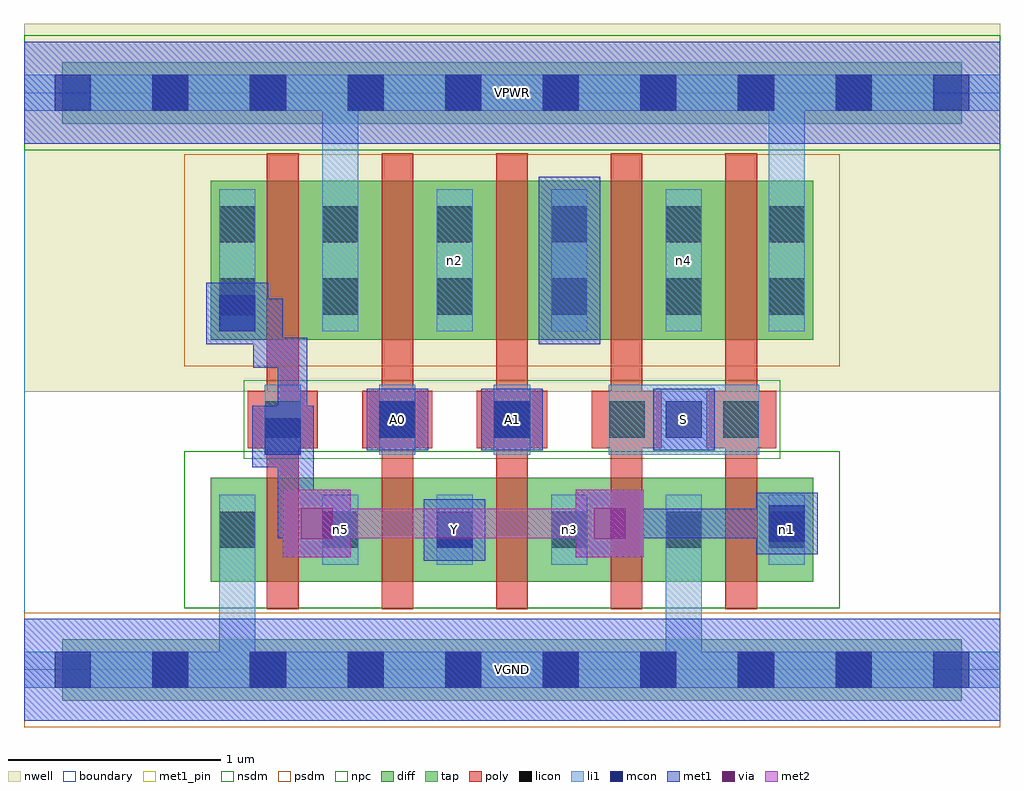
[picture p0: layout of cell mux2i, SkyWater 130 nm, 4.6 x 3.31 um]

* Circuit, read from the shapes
.subckt mux2i A0 A1 S VGND VPWR Y n1 n2 n3 n4 n5
XM1 n5 n1 VGND VGND sky130_fd_pr__nfet_01v8 w=0.49 l=0.15
XM2 Y A0 n5 VGND sky130_fd_pr__nfet_01v8 w=0.49 l=0.15
XM3 n3 A1 Y VGND sky130_fd_pr__nfet_01v8 w=0.49 l=0.15
XM4 VGND S n3 VGND sky130_fd_pr__nfet_01v8 w=0.49 l=0.15
XM5 n1 S VGND VGND sky130_fd_pr__nfet_01v8 w=0.49 l=0.15
XM6 VPWR n1 n1 VPWR sky130_fd_pr__pfet_01v8 w=0.75 l=0.15
XM7 n2 A0 VPWR VPWR sky130_fd_pr__pfet_01v8 w=0.75 l=0.15
XM8 n6 A1 n2 VPWR sky130_fd_pr__pfet_01v8 w=0.75 l=0.15
XM9 n4 S n6 VPWR sky130_fd_pr__pfet_01v8 w=0.75 l=0.15
XM10 VPWR S n4 VPWR sky130_fd_pr__pfet_01v8 w=0.75 l=0.15
.ends

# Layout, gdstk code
import gdstk
lib = gdstk.Library(unit=1e-6, precision=1e-09)
def R(c, l, rs):  # rectangles x0, y0, x1, y1
    for r in rs: c.add(gdstk.rectangle(r[:2], r[2:], *l))
def A(c, l, x, y, w, h, nx, ny, dx, dy):  # array of equal rectangles
    R(c, l, [(x+i*dx, y+j*dy, x+i*dx+w, y+j*dy+h) for i in range(nx) for j in range(ny)])
nwell = (64, 20)
diff = (65, 20)
tap = (65, 44)
poly = (66, 20)
licon = (66, 44)
li1 = (67, 20)
mcon = (67, 44)
met1_pin = (68, 16)
met1 = (68, 20)
via = (68, 44)
met2 = (69, 20)
nsdm = (93, 44)
psdm = (94, 20)
npc = (95, 20)
boundary = (235, 4)

mux2i = lib.new_cell('mux2i')
R(mux2i, nwell, [(0,1.31,4.6,3.045)])
R(mux2i, diff, [(0.88,0.415,3.72,0.905), (0.88,1.555,3.72,2.305)])
R(mux2i, tap, [(0.18,-0.145,4.42,0.145), (0.18,2.575,4.42,2.865)])
A(mux2i, poly, 1.145, 0.285, 0.15, 2.15, 5, 1, 0.54, 0)
A(mux2i, poly, 1.055, 1.045, 0.33, 0.27, 5, 1, 0.54, 0)
A(mux2i, licon, 0.605, -0.085, 0.17, 0.17, 8, 2, 0.46, 2.72)
A(mux2i, licon, 1.405, 0.575, 0.17, 0.17, 4, 2, 0.54, 1.1)
A(mux2i, licon, 1.135, 1.095, 0.17, 0.17, 5, 1, 0.54, 0)
A(mux2i, licon, 1.405, 2.015, 0.17, 0.17, 4, 1, 0.54, 0)
R(mux2i, licon, [(0.92,0.575,1.09,0.745), (3.51,0.575,3.68,0.745), (0.92,1.675,1.09,1.845), (3.51,1.675,3.68,1.845), (0.92,2.015,1.09,2.185), (3.51,2.015,3.68,2.185)])
A(mux2i, li1, 1.405, 0.495, 0.17, 0.33, 4, 1, 0.54, 0)
A(mux2i, li1, 1.135, 1.015, 0.17, 0.33, 3, 1, 0.54, 0)
A(mux2i, li1, 1.405, 1.595, 0.17, 0.67, 4, 1, 0.54, 0)
R(mux2i, li1, [(0,-0.085,4.6,0.085), (0.92,-0.085,1.09,0.825), (3.025,-0.085,3.195,0.825), (0.92,0.495,1.09,0.825), (3.51,0.495,3.68,0.825), (2.755,1.015,3.465,1.345), (0.92,1.595,1.09,2.265), (1.405,1.595,1.575,2.805), (3.51,1.595,3.68,2.265), (3.51,1.595,3.68,2.805), (0,2.635,4.6,2.805)])
A(mux2i, mcon, 0.145, -0.085, 0.17, 0.17, 10, 2, 0.46, 2.72)
R(mux2i, mcon, [(1.945,0.575,2.115,0.745), (3.51,0.605,3.68,0.775), (1.135,1.015,1.305,1.185), (1.675,1.095,1.845,1.265), (2.215,1.095,2.385,1.265), (3.025,1.095,3.195,1.265), (0.92,1.595,1.09,1.765)])
R(mux2i, met1_pin, [(0,-0.24,4.6,0.24), (1.885,0.515,2.175,0.805), (1.615,1.035,1.905,1.325), (2.155,1.035,2.445,1.325), (2.965,1.035,3.255,1.325), (0,2.48,4.6,2.96)])
R(mux2i, met1, [(0,-0.24,4.6,0.24), (1.885,0.515,2.175,0.805), (1.22,0.53,1.54,0.85), (2.6,0.53,2.92,0.85), (3.45,0.545,3.74,0.835), (1.195,0.62,1.45,0.76), (1.195,0.62,1.335,0.99), (2.69,0.62,3.52,0.76), (3.38,0.62,3.665,0.76), (1.195,0.85,1.335,1.17), (1.195,0.85,1.335,1.565), (1.22,0.85,1.365,0.955), (1.075,0.955,1.365,1.245), (1.15,1.03,1.335,1.17), (1.615,1.035,1.905,1.325), (2.155,1.035,2.445,1.325), (2.965,1.035,3.255,1.325), (1.08,1.425,1.335,1.565), (1.08,1.425,1.22,1.75), (0.86,1.535,1.15,1.825), (2.425,1.535,2.715,2.325), (0.935,1.61,1.22,1.75), (0,2.48,4.6,2.96)])
R(mux2i, via, [(1.305,0.615,1.455,0.765), (2.685,0.615,2.835,0.765)])
R(mux2i, met2, [(1.22,0.53,1.54,0.85), (2.6,0.53,2.92,0.85), (1.31,0.62,2.83,0.76)])
R(mux2i, nsdm, [(0.755,0.29,3.845,1.03), (0,2.45,4.6,2.99)])
R(mux2i, psdm, [(0,-0.27,4.6,0.27), (0.755,1.43,3.845,2.43)])
R(mux2i, npc, [(1.035,0.995,3.565,1.365)])
R(mux2i, boundary, [(0,0,4.6,2.72)])
mux2i.add(gdstk.Label('n5', (1.49,0.66), layer=67, texttype=5))
mux2i.add(gdstk.Label('n3', (2.57,0.66), layer=67, texttype=5))
mux2i.add(gdstk.Label('n1', (3.595,0.66), layer=67, texttype=5))
mux2i.add(gdstk.Label('n2', (2.03,1.93), layer=67, texttype=5))
mux2i.add(gdstk.Label('n4', (3.11,1.93), layer=67, texttype=5))
mux2i.add(gdstk.Label('S', (3.11,1.18), layer=68, texttype=5))
mux2i.add(gdstk.Label('A0', (1.76,1.18), layer=68, texttype=5))
mux2i.add(gdstk.Label('A1', (2.3,1.18), layer=68, texttype=5))
mux2i.add(gdstk.Label('Y', (2.03,0.66), layer=68, texttype=5))
mux2i.add(gdstk.Label('VPWR', (2.3,2.72), layer=68, texttype=5))
mux2i.add(gdstk.Label('VGND', (2.3,0), layer=68, texttype=5))
mux2i.add(gdstk.Label('S', (3.11,1.18), layer=68, texttype=16))
mux2i.add(gdstk.Label('A0', (1.76,1.18), layer=68, texttype=16))
mux2i.add(gdstk.Label('A1', (2.3,1.18), layer=68, texttype=16))
mux2i.add(gdstk.Label('Y', (2.03,0.66), layer=68, texttype=16))
mux2i.add(gdstk.Label('VPWR', (2.3,2.72), layer=68, texttype=16))
mux2i.add(gdstk.Label('VGND', (2.3,0), layer=68, texttype=16))

lib.write_gds('mux2i.gds')
